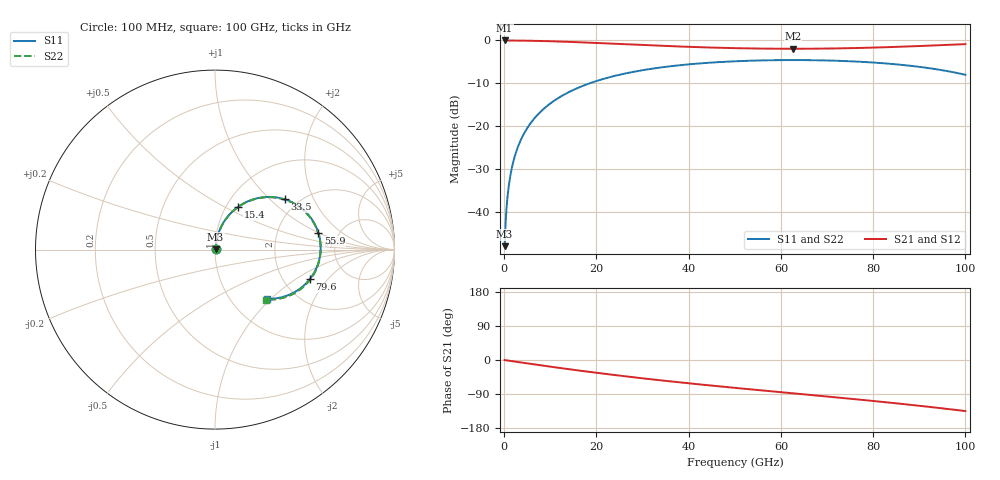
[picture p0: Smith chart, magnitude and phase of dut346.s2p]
! Touchstone file exported from HFSS 2026.1.0
!  File:  C:/ffzhzh/LocalFiles/Ansys_Project_Files/temp_train_RDL_346_1783503122_55944.aedt
!  Generated:  05:33:16 PM Jul  8, 2026
!  Design:  RDL
!  Project:  temp_train_RDL_346_1783503122_55944
! Variables:
!  h_bsmrdl = 2um
!  h_ox = 20um
!  h_rdl = 5um
!  h_sub = 80um
!  h_tmrdl = 2.78um
!  h_tsv = 80um
!  h_via = 3um
!  l_bsmrdl = 300um
!  l_sub = 862.94um
!  l_tmrdl = 462.94um
!  m_sub = 200um
!  pitch = 44.3um
!  r_tsv = 6um
!  s_tmrdl = 10um
!  w_bsmrdl = 18um
!  w_sub = 500um
!  w_tmrdl = 18.37um
!  x_tsv_center1 = 472.125um
!  x_tsv_center2 = 790.125um
!  x_tsv_center3 = 1271.435um
!  x_tsv_center4 = 1589.435um
!  x_tsv_center5 = 2070.745um
!  x_tsv_center6 = 2388.745um
# GHz S MA R 50.000000
! Terminal data exported
! Port[1] = TM_RDL1_1_T1
! Port[2] = TM_RDL1_1_T2
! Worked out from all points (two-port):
!   1000 points, 100 MHz to 100 GHz, reference 50 ohm
!   highest |S21| = -0.03 dB at 100 MHz (marker M1); lowest = -2.0 dB at 62.6 GHz (marker M2)
!   |S21| within 3 dB of the highest: start of sweep to end of sweep
!   lowest |S11| = -48.0 dB at 100 MHz (marker M3), VSWR 1.01, Z = 50.3 + j0.209 ohm
!   |S11| at or under -10 dB: start of sweep to 18.6 GHz
!   |S22| runs from -48.0 to -4.6 dB; largest |S21 - S12| = 1.7e-14
!   S11 on the Smith chart (normalised r, x): 100 MHz: 1.01, +0.00; 15.4 GHz: 1.14, +0.58; 33.5 GHz: 1.70, +1.24; 55.9 GHz: 3.50, +0.99; 79.6 GHz: 2.77, -1.32; 100 GHz: 1.44, -0.94
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0.1  0.003979 31.5  0.9966 -0.2  0.9966 -0.2  0.003979 31.5
! Gamma 0 0 0 0
! Port Impedance 50 0 50 0
0.9  0.01812 75.2  0.9957 -1.6  0.9957 -1.6  0.01812 75.2
1.2  0.02368 77.5  0.9955 -2.2  0.9955 -2.2  0.02368 77.5
1.5  0.02928 78.8  0.9952 -2.7  0.9952 -2.7  0.02928 78.8
2.5  0.04804 80.0  0.9943 -4.5  0.9943 -4.5  0.04804 80.0
3.9  0.07424 79.2  0.9923 -7.0  0.9923 -7.0  0.07425 79.2
5.9  0.1111 76.6  0.9882 -10.5  0.9882 -10.5  0.1111 76.6
8.4  0.1558 72.8  0.9812 -14.8  0.9812 -14.8  0.1558 72.7
11.6  0.2102 67.7  0.9697 -20.2  0.9697 -20.2  0.2102 67.5
15.4  0.2701 61.7  0.9536 -26.5  0.9536 -26.5  0.2701 61.5
16.8  0.2908 59.5  0.9472 -28.7  0.9472 -28.7  0.2908 59.3
24.2  0.3875 48.5  0.911 -40.0  0.911 -40.0  0.3875 48.2
33.4  0.4782 36.0  0.8668 -52.9  0.8668 -52.9  0.4781 35.6
33.5  0.479 35.9  0.8664 -53.1  0.8664 -53.1  0.479 35.4
50.1  0.5699 15.8  0.8104 -73.6  0.8104 -73.6  0.5699 15.1
55.9  0.5835 9.2  0.801 -80.3  0.801 -80.3  0.5835 8.5
62.6  0.5889 1.8  0.7972 -87.9  0.7972 -87.9  0.5888 1.0
66.7  0.5869 -2.7  0.7986 -92.6  0.7986 -92.6  0.5868 -3.6
79.6  0.5529 -17.4  0.8215 -107.6  0.8215 -107.6  0.5528 -18.4
83.4  0.5341 -22.0  0.8332 -112.3  0.8332 -112.3  0.534 -23.0
92.2  0.4732 -33.0  0.8675 -123.7  0.8675 -123.7  0.4731 -34.1
100  0.3965 -43.6  0.9029 -134.8  0.9029 -134.8  0.3964 -44.7
